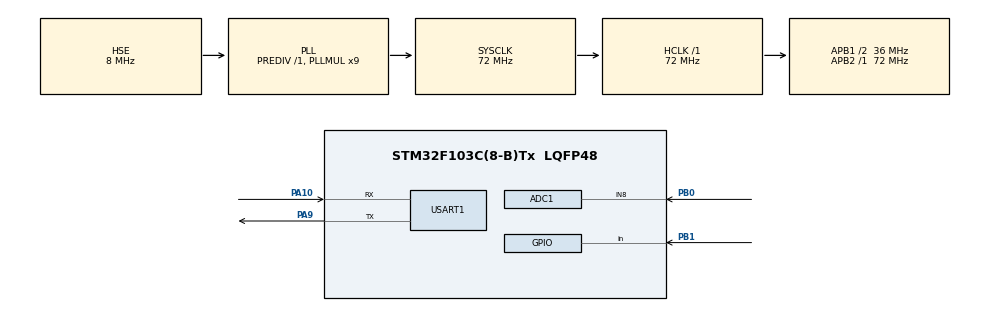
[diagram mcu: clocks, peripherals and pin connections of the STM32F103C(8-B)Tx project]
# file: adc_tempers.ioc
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ADC1.Channel-0\#ChannelRegularConversion=ADC_CHANNEL_8
ADC1.NbrOfConversionFlag=1
ADC1.Rank-0\#ChannelRegularConversion=1
ADC1.SamplingTime-0\#ChannelRegularConversion=ADC_SAMPLETIME_7CYCLES_5
ADC1.master=1
Mcu.Family=STM32F1
Mcu.Name=STM32F103C(8-B)Tx
Mcu.Package=LQFP48
NVIC.PriorityGroup=NVIC_PRIORITYGROUP_4
PA10.Mode=Asynchronous
PA10.Signal=USART1_RX
PA13.Mode=Serial_Wire
PA13.Signal=SYS_JTMS-SWDIO
PA14.Mode=Serial_Wire
PA14.Signal=SYS_JTCK-SWCLK
PA9.Mode=Asynchronous
PA9.Signal=USART1_TX
PB0.Signal=ADCx_IN8
PB1.Signal=GPIO_Input
PC14-OSC32_IN.Mode=LSE-External-Oscillator
PC14-OSC32_IN.Signal=RCC_OSC32_IN
PC15-OSC32_OUT.Mode=LSE-External-Oscillator
PC15-OSC32_OUT.Signal=RCC_OSC32_OUT
PD0-OSC_IN.Mode=HSE-External-Oscillator
PD0-OSC_IN.Signal=RCC_OSC_IN
PD1-OSC_OUT.Mode=HSE-External-Oscillator
PD1-OSC_OUT.Signal=RCC_OSC_OUT
ProjectManager.HeapSize=0x200
ProjectManager.StackSize=0x400
ProjectManager.TargetToolchain=MDK-ARM V5.32
RCC.ADCPresc=RCC_ADCPCLK2_DIV6
RCC.AHBFreq_Value=72000000
RCC.APB1CLKDivider=RCC_HCLK_DIV2
RCC.APB1Freq_Value=36000000
RCC.APB1TimFreq_Value=72000000
RCC.APB2Freq_Value=72000000
RCC.APB2TimFreq_Value=72000000
RCC.HCLKFreq_Value=72000000
RCC.PLLMUL=RCC_PLL_MUL9
RCC.PLLSourceVirtual=RCC_PLLSOURCE_HSE
RCC.SYSCLKFreq_VALUE=72000000
RCC.SYSCLKSource=RCC_SYSCLKSOURCE_PLLCLK
RCC.USBFreq_Value=72000000
SH.ADCx_IN8.0=ADC1_IN8,IN8
USART1.VirtualMode=VM_ASYNC
board=custom

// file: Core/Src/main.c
/* USER CODE BEGIN Header */
/**
  ******************************************************************************
  * @file           : main.c
  * @brief          : Main program body
  ******************************************************************************
  * @attention
  *
  * Copyright (c) 2025 STMicroelectronics.
  * All rights reserved.
  *
  * This software is licensed under terms that can be found in the LICENSE file
  * in the root directory of this software component.
  * If no LICENSE file comes with this software, it is provided AS-IS.
  *
  ******************************************************************************
  */
/* USER CODE END Header */
#include "main.h"
#include "adc.h"
#include "usart.h"
#include "gpio.h"

/* USER CODE BEGIN Includes */
#include <stdio.h>
#include <math.h>
/* USER CODE END Includes */

/* USER CODE BEGIN PD */
#define R_REF 10000.0f
#define B_VALUE 3950.0f
#define T_REF 298.15f
#define R_NTC_REF 10000.0f

uint16_t ADC_GetValue(ADC_HandleTypeDef *hadc);
float ADC_ConvertToVoltage(uint16_t adc_val);
float Voltage_ConverToTemperature(float voltage);
/* USER CODE END PD */

void SystemClock_Config(void);

/* USER CODE BEGIN 0 */
int fputc(int ch ,FILE *f){
	HAL_UART_Transmit(&huart1,(uint8_t *)&ch,1,HAL_MAX_DELAY);
	return ch;
}

uint16_t ADC_GetValue(ADC_HandleTypeDef *hadc){
	uint16_t adc_val = 0;
	HAL_ADC_Start(hadc);
	if(HAL_ADC_PollForConversion(hadc,100) == HAL_OK){
		adc_val = HAL_ADC_GetValue(hadc);
	}
	HAL_ADC_Stop(hadc);
	return adc_val;
}
float ADC_ConvertToltage(uint16_t adc_val){
	return (adc_val * 3.3f) / 4095.0f;

}

float Voltage_ConvertToTemperature(float voltage){
	float r_ntc;
	float temp_k;
	float temp_c;

	r_ntc = (voltage * R_REF) / (3.3f - voltage);
	temp_k = 1.0f / ((1.0f / T_REF) + (1.0f / B_VALUE) * log(r_ntc / R_NTC_REF));
	temp_c = temp_k -273.15f;
	return temp_c;
}
/* USER CODE END 0 */

int main(void)
{

  /* MCU Configuration--------------------------------------------------------*/

  /* Reset of all peripherals, Initializes the Flash interface and the Systick. */
  HAL_Init();

  /* Configure the system clock */
  SystemClock_Config();

  /* Initialize all configured peripherals */
  MX_GPIO_Init();
  MX_ADC1_Init();
  MX_USART1_UART_Init();
  /* USER CODE BEGIN 2 */
	HAL_ADCEx_Calibration_Start(&hadc1);
	printf("温度传感器初始化成功!\n");
	uint16_t adc_raw = 0;
	float voltage = 0.0f;
	float temperature = 0.0f;
	uint8_t do_state = 0;
  /* USER CODE END 2 */

  /* Infinite loop */
  /* USER CODE BEGIN WHILE */
  while (1)
  {
		adc_raw = ADC_GetValue(&hadc1);
		voltage = ADC_ConvertToltage(adc_raw);
		temperature = Voltage_ConvertToTemperature(voltage);
		do_state = HAL_GPIO_ReadPin(GPIOB,GPIO_PIN_1);
		do_state =  !do_state;
		printf("当前环境温度:%.1f°C\n",temperature);
		HAL_Delay(500);
		if(temperature >= 30)
	{

	}
    /* USER CODE END WHILE */

  }
}

void SystemClock_Config(void)
{
  RCC_OscInitTypeDef RCC_OscInitStruct = {0};
  RCC_ClkInitTypeDef RCC_ClkInitStruct = {0};
  RCC_PeriphCLKInitTypeDef PeriphClkInit = {0};

  /** Initializes the RCC Oscillators according to the specified parameters
  * in the RCC_OscInitTypeDef structure.
  */
  RCC_OscInitStruct.OscillatorType = RCC_OSCILLATORTYPE_HSE;
  RCC_OscInitStruct.HSEState = RCC_HSE_ON;
  RCC_OscInitStruct.HSEPredivValue = RCC_HSE_PREDIV_DIV1;
  RCC_OscInitStruct.HSIState = RCC_HSI_ON;
  RCC_OscInitStruct.PLL.PLLState = RCC_PLL_ON;
  RCC_OscInitStruct.PLL.PLLSource = RCC_PLLSOURCE_HSE;
  RCC_OscInitStruct.PLL.PLLMUL = RCC_PLL_MUL9;
  if (HAL_RCC_OscConfig(&RCC_OscInitStruct) != HAL_OK)
  {
    Error_Handler();
  }

  /** Initializes the CPU, AHB and APB buses clocks
  */
  RCC_ClkInitStruct.ClockType = RCC_CLOCKTYPE_HCLK|RCC_CLOCKTYPE_SYSCLK
                              |RCC_CLOCKTYPE_PCLK1|RCC_CLOCKTYPE_PCLK2;
  RCC_ClkInitStruct.SYSCLKSource = RCC_SYSCLKSOURCE_PLLCLK;
  RCC_ClkInitStruct.AHBCLKDivider = RCC_SYSCLK_DIV1;
  RCC_ClkInitStruct.APB1CLKDivider = RCC_HCLK_DIV2;
  RCC_ClkInitStruct.APB2CLKDivider = RCC_HCLK_DIV1;

  if (HAL_RCC_ClockConfig(&RCC_ClkInitStruct, FLASH_LATENCY_2) != HAL_OK)
  {
    Error_Handler();
  }
  PeriphClkInit.PeriphClockSelection = RCC_PERIPHCLK_ADC;
  PeriphClkInit.AdcClockSelection = RCC_ADCPCLK2_DIV6;
  if (HAL_RCCEx_PeriphCLKConfig(&PeriphClkInit) != HAL_OK)
  {
    Error_Handler();
  }
}

void Error_Handler(void)
{
  __disable_irq();
  while (1)
  {
  }
}
